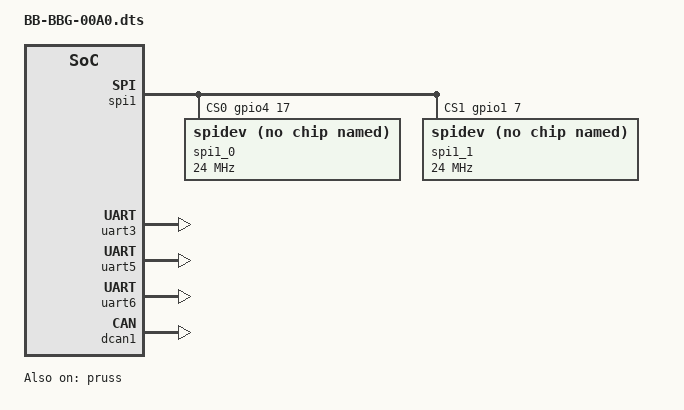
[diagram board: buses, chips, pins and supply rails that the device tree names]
/dts-v1/;
/plugin/;

/* Device tree file for BBG */

/ {
    compatible = "ti,beaglebone", "ti,beaglebone-black";

    part-number = "BB-BBG";
    version = "00A0";

    exclusive-use =

        /* PRU RCInput */
        "P8.15",	/* pru1: pr1_ecap0_ecap_capin, PPM-sum, SBUS, DSM */

        /* PRU RCOutput */
        "P8.28",	/* pru1: pr1_pru1_pru_r30_10, CH_1 */
        "P8.27",	/* pru1: pr1_pru1_pru_r30_8, CH_2 */
        "P8.30",	/* pru1: pr1_pru1_pru_r30_11, CH_3 */
        "P8.29",	/* pru1: pr1_pru1_pru_r30_9, CH_4 */
        "P8.40",	/* pru1: pr1_pru1_pru_r30_7, CH_5 */
        "P8.39",	/* pru1: pr1_pru1_pru_r30_6, CH_6 */
        "P8.42",	/* pru1: pr1_pru1_pru_r30_5, CH_7 */
        "P8.41",	/* pru1: pr1_pru1_pru_r30_4, CH_8 */
        "P8.44",	/* pru1: pr1_pru1_pru_r30_3, CH_9 */
        "P8.43",	/* pru1: pr1_pru1_pru_r30_2, CH_10 */
        "P8.46",	/* pru1: pr1_pru1_pru_r30_1, CH_11 */
        "P8.45",	/* pru1: pr1_pru1_pru_r30_0, CH_12 */

        "P8.12",	/* pru0: pr1_pru0_pru_r30_14, HC-SR04 trigger */
        "P8.16",	/* pru0: pr1_pru0_pru_r31_14, HC-SR04 echo */

        /* SPI1 */
        "P9.31",	/* spi1: spi1_sclk, SPI1_SCLK */
        "P9.29",	/* spi1: spi1_d0, SPI1_MISO */
        "P9.30",	/* spi1: spi1_d1, SPI1_MOSI */
        "P9.28",	/* spi1: spi1_cs0, MPU9250 CS0 */
        "P9.42",	/* spi1: spi1_cs1, MS5611 CS1 */
		
        /* UART2 MAVLink */
        "P9.21",	/* uart2: uart2_txd */
        "P9.22",	/* uart2: uart2_rxd */

        /* UART4 MAVLink */
        "P9.13",	/* uart4: uart4_txd */
        "P9.11",	/* uart4: uart4_rxd */

        /* UART5 GPS */
        "P8.37", 	/* uart5: uart5_txd */
        "P8.38", 	/* uart5: uart5_rxd */

        /* CAN1 */
        "P9.24", 	/* can1: dcan1_rx */
        "P9.26", 	/* can1: dcan1_tx */
        		
        /* Hardware in use */
        "pru1",
        "spi1",
        "uart2",
        "uart4",
        "uart5",
        "can1";

    fragment@0 {
        target = <&am33xx_pinmux>;
        __overlay__ {

            pru_pru_pins: pinmux_pru_pru_pins {
                pinctrl-single,pins = <
                    0x03c 0x35	/* ecap0_in_pwm0_out.pr1_ecap0_ecap_capin, MODE5 | INPUT_PULLUP | PRU, PPM-sum, SBUS, DSM  */

                    0x0e8 0x25	/* lcd_pclk.pr1_pru1_pru_r30_10, MODE5 | OUTPUT | PRU, CH_1 */
                    0x0e0 0x25	/* lcd_vsync.pr1_pru1_pru_r30_8, MODE5 | OUTPUT | PRU, CH_2 */
                    0x0ec 0x25	/* lcd_ac_bias_en.pr1_pru1_pru_r30_11, MODE5 | OUTPUT | PRU, CH_3 */
                    0x0e4 0x25	/* lcd_hsync.pr1_pru1_pru_r30_9, MODE5 | OUTPUT | PRU, CH_4 */
                    0x0bc 0x25	/* lcd_data7.pr1_pru1_pru_r30_7, MODE5 | OUTPUT | PRU, CH_5 */
                    0x0b8 0x25	/* lcd_data6.pr1_pru1_pru_r30_6, MODE5 | OUTPUT | PRU, CH_6 */
                    0x0b4 0x25	/* lcd_data5.pr1_pru1_pru_r30_5, MODE5 | OUTPUT | PRU, CH_7 */
                    0x0b0 0x25	/* lcd_data4.pr1_pru1_pru_r30_4, MODE5 | OUTPUT | PRU, CH_8 */
                    0x0ac 0x25	/* lcd_data3.pr1_pru1_pru_r30_3, MODE5 | OUTPUT | PRU, CH_9 */
                    0x0a8 0x25	/* lcd_data2.pr1_pru1_pru_r30_2, MODE5 | OUTPUT | PRU, CH_10 */
                    0x0a4 0x25	/* lcd_data1.pr1_pru1_pru_r30_1, MODE5 | OUTPUT | PRU, CH_11 */
                    0x0a0 0x25	/* lcd_data0.pr1_pru1_pru_r30_0, MODE5 | OUTPUT | PRU, CH_12 */

                    0x030 0x6 	/* gpmc_ad12.pr1_pru0_pru_r30_14, MODE6 | OUTPUT_PULLDOWN | HC-SR04 trigger */
                    0x038 0x26	/* gpmc_ad14.pr1_pru0_pru_r31_14, MODE6 | INPUT_PULLDOWN | HC-SR04 echo */
                >;
            };

            bb_spi1_pins: pinmux_bb_spi1_pins {
                pinctrl-single,pins = <
                    0x190 0x33	/* mcasp0_aclkx.spi1_sclk, MODE3 | INPUT_PULLUP | SPI1_SCLK P9_31 */
                    0x194 0x33	/* mcasp0_fsx.spi1_d0, MODE3 | INPUT_PULLUP | SPI1_MISO P9_29 */
                    0x198 0x13	/* mcasp0_axr0.spi1_d1, MODE3 | OUTPUT_PULLUP | SPI1_MOSI P9_30 */
                    0x19c 0x13	/* mcasp0_ahclkr.spi1_cs0, MODE3 | OUTPUT_PULLUP | MPU9250 CS0 P9_28 */
                    0x164 0x12	/* ecap0_in_pwm0_out.spi1_cs1, MODE2 | OUTPUT_PULLUP | MS5611 CS1 P9_42 */

                    0x1a0 0x30  /* Mcasp0_aclkr P9_42 */
                >;
            };

            bb_uart2_pins: pinmux_bb_uart2_pins {
                pinctrl-single,pins = <
                    0x154 0x01  /* spi0_d0.uart2_txd | MODE1 P9.21 */
                    0x150 0x21  /* spi0_sclk.uart2_rxd | MODE1 P9.22 */
                >;
            };

            bb_uart4_pins: pinmux_bb_uart4_pins {
                pinctrl-single,pins = <
                    0x074 0x06  /* gpmc_wpm.uart4_txd   | MODE6 P9.13 */
                    0x070 0x26  /* gpmc_wait0.uart4_rxd | MODE6 P9.11 */
                >;
            };
			
            bb_uart5_pins: pinmux_bb_uart5_pins {
                pinctrl-single,pins = <
                    0x0C0 0x04  /* lcd_data8.uart5_txd | MODE4 P8.37 */
                    0x0C4 0x24  /* lcd_data9.uart5_rxd | MODE4 P8.38 */
                >;
            };			

            dcan1_pins_s0: dcan1_pins_s0 {
                pinctrl-single,pins = <
                    0x180 0x12  /* d_can1_tx, SLEWCTRL_FAST | INPUT_PULLUP | MODE2 */
                    0x184 0x32  /* d_can1_rx, SLEWCTRL_FAST | RECV_ENABLE | INPUT_PULLUP | MODE2 */
                >;
            };

        };
    };
	
    fragment@1 {
        target = <&pruss>;
        __overlay__ {
            status = "okay";
            pinctrl-names = "default";
            pinctrl-0 = <&pru_pru_pins>;
        };
    };

    fragment@2 {
        target = <&spi1>;
        __overlay__ {
            status = "okay";
            pinctrl-names = "default";
            pinctrl-0 = <&bb_spi1_pins>;

            #address-cells = <1>;
            #size-cells = <0>;

            cs-gpios = <&gpio4 17 0>, <&gpio1 7 0>;

            spi1_0 {
                #address-cells = <1>;
                #size-cells = <0>;
                reg = <0>;
                spi-max-frequency = <24000000>;
                compatible = "spidev";
            };

            spi1_1 {
                #address-cells = <1>;
                #size-cells = <0>;
                reg = <1>;
                spi-max-frequency = <24000000>;
                compatible = "spidev";
           };
        };
    };


    fragment@3 {
        target = <&uart3>;
        __overlay__ {
            status = "okay";
            pinctrl-names = "default";
            pinctrl-0 = <&bb_uart2_pins>;
        };
    };

    fragment@4 {
        target = <&uart5>;
        __overlay__ {
            status = "okay";
            pinctrl-names = "default";
            pinctrl-0 = <&bb_uart4_pins>;
        };
    };

    fragment@5 {
        target = <&uart6>;
        __overlay__ {
            status = "okay";
            pinctrl-names = "default";
            pinctrl-0 = <&bb_uart5_pins>;
        };
    };		

    fragment@6 {
        target = <&dcan1>;
        __overlay__ {
             #address-cells = <1>;
             #size-cells = <0>;

             status = "okay";
             pinctrl-names = "default";
             pinctrl-0 = <&dcan1_pins_s0>;
        };
    };

};
